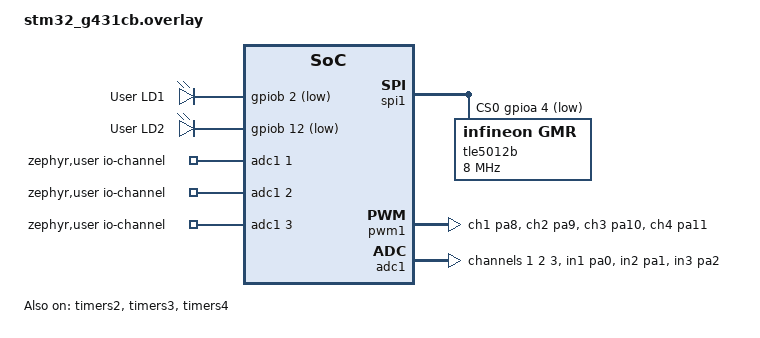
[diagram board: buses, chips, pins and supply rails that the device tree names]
/*
 * SPDX-License-Identifier: Apache-2.0
 *
 * Copyright (c) 2022 STMicroelectronics
 */

/ {
    chosen {
		zephyr,console = &usart1;
		zephyr,shell-uart = &usart1;
		zephyr,sram = &sram0;
		zephyr,flash = &flash0;
	};

	leds {
		compatible = "gpio-leds";
		green_led: led_0 {
			gpios = <&gpiob 2 GPIO_ACTIVE_LOW>;
			label = "User LD1";
		};
        red_led: led_1 {
			gpios = <&gpiob 12 GPIO_ACTIVE_LOW>;
			label = "User LD2";
		};
	};

	pwmleds {
		compatible = "pwm-leds";
	};

	aliases {
		led0 = &green_led;
        led1 = &red_led;
        qdec2 = &qdec2;
        qdec3 = &qdec3;
	};

    timer_pwms{
		compatible = "pwms-spec";
		pwm_spec: pwms {
			pwms = <&pwm1 1 50000 PWM_POLARITY_NORMAL>,
				   <&pwm1 2 50000 PWM_POLARITY_NORMAL>,
                   <&pwm1 3 50000 PWM_POLARITY_NORMAL>,
                   <&pwm1 4 50000 PWM_POLARITY_NORMAL>;
			pwm-names = "pwm1_ch1", "pwm1_ch2", "pwm1_ch3", "pwm1_ch4";
		};
	};

    zephyr,user {
		/* adjust channel number according to pinmux in board.dts */
		io-channels = <&adc1 1>, <&adc1 2>, <&adc1 3>;
	};

};

&spi1 {
    cs-gpios = <&gpioa 4 (GPIO_ACTIVE_LOW | GPIO_PULL_UP)>;
    status = "okay";
    /*
    icm-42688@0 {
        compatible = "invensense,icm42688";
        reg = <0x0>;
        int-gpios = <&gpiob 11 GPIO_ACTIVE_HIGH>;
        accel-hz = <1000>;
        gyro-hz = <1000>;
        accel-fs = <16>;
        gyro-fs = <2000>;
        spi-max-frequency = <12000000>;
        status = "okay";
    };
    */
    tle5012b@0 {
        compatible = "infineon,gmr";
        reg = <0x0>;
        spi-max-frequency = <8000000>;
        resolution = <15>;
        status = "okay";
    };
};

&pwm1 {
	status = "okay";
	pinctrl-0 = <&tim1_ch1_pa8 &tim1_ch2_pa9 &tim1_ch3_pa10 &tim1_ch4_pa11>;
	pinctrl-names = "default";
};

&timers2 {
	status = "okay";
    qdec2: qdec {
		status = "disabled";
		pinctrl-0 = <&tim2_ch1_pa0 &tim2_ch2_pa1>;
		pinctrl-names = "default";
		st,input-polarity-inverted;
		st,input-filter-level = <15>;
		st,counts-per-revolution = <16>;
	};
    counter2: counter {
		compatible = "st,stm32-counter";
		status = "okay";
        label = "COUNTER_2";
	};
};

&timers3 {
	st,prescaler = <1>;
	status = "okay";

    qdec3: qdec {
		status = "disabled";
		pinctrl-0 = <&tim3_ch1_pb4 &tim3_ch2_pa4>;
		pinctrl-names = "default";
		st,input-polarity-inverted;
		st,input-filter-level = <15>;
		st,counts-per-revolution = <16>;
	};
    counter3: counter {
		compatible = "st,stm32-counter";
		status = "okay";
        label = "COUNTER_3";
	};
};

&timers4 {
	st,prescaler = <1>;
	status = "okay";
    counter4: counter {
		compatible = "st,stm32-counter";
		status = "okay";
        label = "COUNTER_4";
	};
};
&adc1 {
	pinctrl-0 = <&adc1_in1_pa0 &adc1_in2_pa1 &adc1_in3_pa2>;
	pinctrl-names = "default";
	status = "okay";
    #address-cells = <1>;
    #size-cells = <0>;

    channel@1 {
		reg = <1>;
		zephyr,gain = "ADC_GAIN_1";
		zephyr,reference = "ADC_REF_INTERNAL";
		zephyr,acquisition-time = <ADC_ACQ_TIME_DEFAULT>;
        zephyr,resolution = <12>;
        zephyr,oversampling = <4>;
    };

    channel@2 {
		reg = <2>;
		zephyr,gain = "ADC_GAIN_1";
		zephyr,reference = "ADC_REF_INTERNAL";
		zephyr,acquisition-time = <ADC_ACQ_TIME_DEFAULT>;
		zephyr,resolution = <12>;
        zephyr,oversampling = <4>;
    };

    channel@3 {
		reg = <3>;
		zephyr,gain = "ADC_GAIN_1";
		zephyr,reference = "ADC_REF_INTERNAL";
		zephyr,acquisition-time = <ADC_ACQ_TIME_DEFAULT>;
		zephyr,resolution = <12>;
        zephyr,oversampling = <4>;
    };
};
